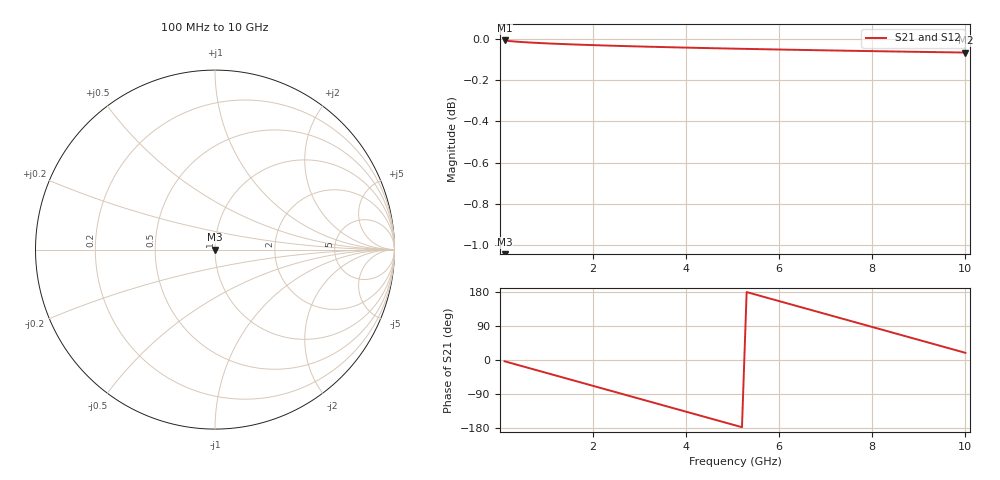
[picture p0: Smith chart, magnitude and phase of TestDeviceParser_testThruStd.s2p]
# MHz MA S R 50.0
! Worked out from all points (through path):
!   100 points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, 100 MHz to 10 GHz, reference 50 ohm
!   highest |S21| = -0.01 dB at 100 MHz (marker M1); lowest = -0.1 dB at 10 GHz (marker M2)
!   group delay of S21, straight-line fit = 94.7 ps
!   lowest |S11| = - dB at 100 MHz (marker M3), VSWR 1.00, Z = 50 + j0 ohm
!   |S11| at or under -10 dB: start of sweep to end of sweep
!   |S22| runs from - to - dB; largest |S21 - S12| = 0
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100  0 0.0  0.9992 -3.4  0.9992 -3.4  0 0.0
500  0 0.0  0.9983 -17.1  0.9983 -17.1  0 0.0
900  0 0.0  0.9977 -30.7  0.9977 -30.7  0 0.0
1800  0 0.0  0.9968 -61.4  0.9968 -61.4  0 0.0
2200  0 0.0  0.9965 -75.0  0.9965 -75.0  0 0.0
2600  0 0.0  0.9962 -88.7  0.9962 -88.7  0 0.0
3000  0 0.0  0.9959 -102.3  0.9959 -102.3  0 0.0
3400  0 0.0  0.9956 -116.0  0.9956 -116.0  0 0.0
3800  0 0.0  0.9954 -129.6  0.9954 -129.6  0 0.0
4300  0 0.0  0.9951 -146.7  0.9951 -146.7  0 0.0
4700  0 0.0  0.9949 -160.3  0.9949 -160.3  0 0.0
5100  0 0.0  0.9946 -174.0  0.9946 -174.0  0 0.0
5500  0 0.0  0.9944 172.4  0.9944 172.4  0 0.0
5900  0 0.0  0.9942 158.8  0.9942 158.8  0 0.0
6700  0 0.0  0.9939 131.5  0.9939 131.5  0 0.0
7200  0 0.0  0.9936 114.4  0.9936 114.4  0 0.0
7600  0 0.0  0.9935 100.8  0.9935 100.8  0 0.0
8000  0 0.0  0.9933 87.1  0.9933 87.1  0 0.0
8400  0 0.0  0.9931 73.5  0.9931 73.5  0 0.0
9100  0 0.0  0.9929 49.6  0.9929 49.6  0 0.0
9600  0 0.0  0.9927 32.5  0.9927 32.5  0 0.0
10000  0 0.0  0.9925 18.9  0.9925 18.9  0 0.0
